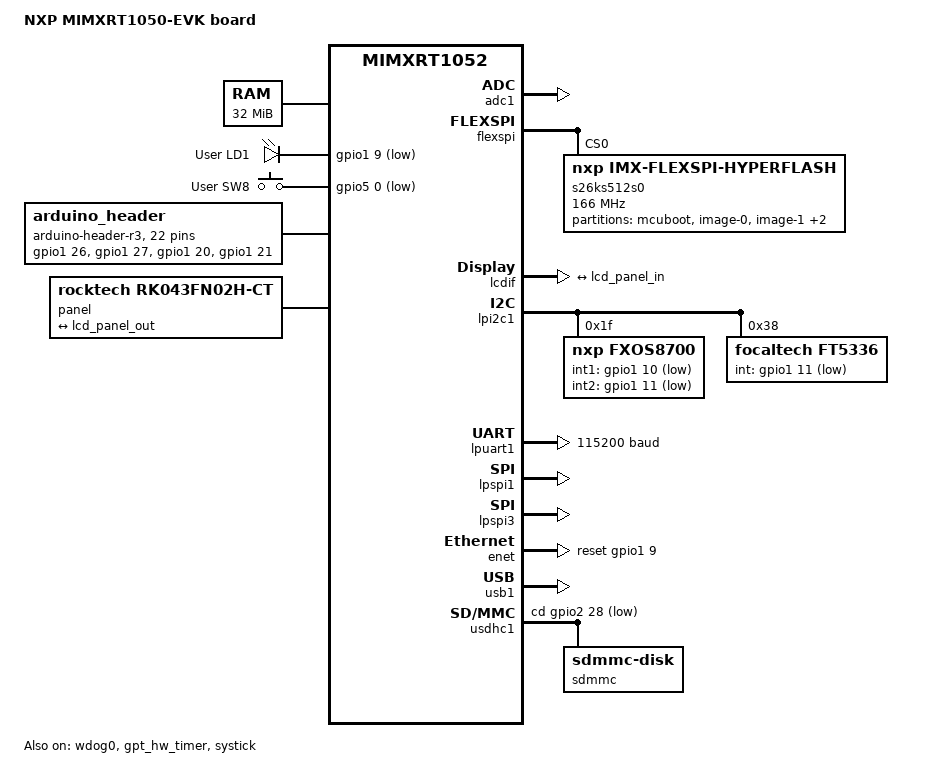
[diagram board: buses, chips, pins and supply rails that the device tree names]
/*
 * Copyright (c) 2017, NXP
 *
 * SPDX-License-Identifier: Apache-2.0
 */

/dts-v1/;

#include <nxp/nxp_rt1050.dtsi>
#include "mimxrt1050_evk-pinctrl.dtsi"

/ {
	model = "NXP MIMXRT1050-EVK board";
	compatible = "nxp,mimxrt1052";

	aliases {
		led0 = &green_led;
		sw0 = &user_button;
		kscan0 = &kscan_input;
		watchdog0 = &wdog0;
		magn0 = &fxos8700;
		accel0 = &fxos8700;
		sdhc0 = &usdhc1;
	};

	chosen {
		zephyr,sram = &sdram0;
		zephyr,itcm = &itcm;
		zephyr,dtcm = &dtcm;
		zephyr,console = &lpuart1;
		zephyr,shell-uart = &lpuart1;
		zephyr,flash-controller = &s26ks512s0;
		zephyr,flash = &s26ks512s0;
		zephyr,code-partition = &slot0_partition;
		zephyr,display = &lcdif;
		zephyr,keyboard-scan = &kscan_input;
	};

	sdram0: memory@80000000 {
		/* Micron MT48LC16M16A2B4-6AIT:G */
		device_type = "memory";
		reg = <0x80000000 DT_SIZE_M(32)>;
	};

	leds {
		compatible = "gpio-leds";
		green_led: led_0 {
			gpios = <&gpio1 9 GPIO_ACTIVE_LOW>;
			label = "User LD1";
		};
	};

	gpio_keys {
		compatible = "gpio-keys";
		user_button: button_0 {
			label = "User SW8";
			gpios = <&gpio5 0 (GPIO_PULL_UP | GPIO_ACTIVE_LOW)>;
		};
	};

	arduino_header: connector {
		compatible = "arduino-header-r3";
		#gpio-cells = <2>;
		gpio-map-mask = <0xffffffff 0xffffffc0>;
		gpio-map-pass-thru = <0 0x3f>;
		gpio-map = <0 0 &gpio1 26 0>,	/* A0 */
			   <1 0 &gpio1 27 0>,	/* A1 */
			   <2 0 &gpio1 20 0>,	/* A2 */
			   <3 0 &gpio1 21 0>,	/* A3 */
			   <4 0 &gpio1 17 0>,	/* A4 */
			   <5 0 &gpio1 16 0>,	/* A5 */
			   <6 0 &gpio1 23 0>,	/* D0 */
			   <7 0 &gpio1 22 0>,	/* D1 */
			   <8 0 &gpio1 11 0>,	/* D2 */
			   <9 0 &gpio1 24 0>,	/* D3 */
			   <10 0 &gpio1 9 0>,	/* D4 */
			   <11 0 &gpio1 10 0>,	/* D5 */
			   <12 0 &gpio1 18 0>,	/* D6 */
			   <13 0 &gpio1 19 0>,	/* D7 */
			   <14 0 &gpio1 3 0>,	/* D8 */
			   <15 0 &gpio1 2 0>,	/* D9 */
			   <16 0 &gpio3 13 0>,	/* D10 */
			   <17 0 &gpio3 14 0>,	/* D11 */
			   <18 0 &gpio3 15 0>,	/* D12 */
			   <19 0 &gpio3 12 0>,	/* D13 */
			   <20 0 &gpio1 1 0>,	/* D14 */
			   <21 0 &gpio1 0 0>;	/* D15 */
	};

	panel {
		compatible = "rocktech,rk043fn02h-ct";
		port {
			lcd_panel_in: endpoint {
				remote-endpoint = <&lcd_panel_out>;
			};
		};
	};
};

arduino_serial: &lpuart3 {
	pinctrl-0 = <&pinmux_lpuart3>;
	pinctrl-1 = <&pinmux_lpuart3_sleep>;
	pinctrl-names = "default", "sleep";
};

&adc1 {
	status = "okay";
	pinctrl-0 = <&pinmux_adc1>;
	pinctrl-names = "default";
};

&flexspi {
	status = "okay";
	ahb-prefetch;
	ahb-read-addr-opt;
	pinctrl-0 = <&pinmux_flexspi1>;
	pinctrl-names = "default";
	ahb-bufferable;
	ahb-cacheable;
	sck-differential-clock;
	combination-mode;
	rx-clock-source = <3>;
	reg = <0x402a8000 0x4000>, <0x60000000 DT_SIZE_M(64)>;
	s26ks512s0: s26ks512s@0 {
		compatible = "nxp,imx-flexspi-hyperflash";
		size = <DT_SIZE_M(64*8)>;
		reg = <0>;
		spi-max-frequency = <166000000>;
		word-addressable;
		cs-interval-unit = <1>;
		cs-interval = <2>;
		cs-hold-time = <0>;
		cs-setup-time = <3>;
		data-valid-time = <1>;
		column-space = <3>;
		ahb-write-wait-unit = <2>;
		ahb-write-wait-interval = <20>;
		status = "okay";
		erase-block-size = <4096>;
		write-block-size = <16>;

		partitions {
			compatible = "fixed-partitions";
			#address-cells = <1>;
			#size-cells = <1>;

			boot_partition: partition@0 {
				label = "mcuboot";
				reg = <0x00000000 DT_SIZE_K(256)>;
			};
			slot0_partition: partition@40000 {
				label = "image-0";
				reg = <0x00040000 DT_SIZE_M(3)>;
			};
			slot1_partition: partition@340000 {
				label = "image-1";
				reg = <0x00340000 DT_SIZE_M(3)>;
			};
			scratch_partition: partition@640000 {
				label = "image-scratch";
				reg = <0x00640000 DT_SIZE_K(768)>;
			};
			storage_partition: partition@700000 {
				label = "storage";
				reg = <0x00700000 DT_SIZE_M(57)>;
			};
		};
	};
};

&lcdif {
	status = "okay";
	width = <480>;
	height = <272>;
	hsync = <41>;
	hfp = <4>;
	hbp = <8>;
	vsync = <10>;
	vfp = <4>;
	vbp = <2>;
	polarity = <3>;
	pixel-format = "bgr-565";
	data-buswidth = "16-bit";
	pinctrl-0 = <&pinmux_lcdif>;
	pinctrl-names = "default";
	backlight-gpios = <&gpio2 31 GPIO_ACTIVE_HIGH>;
	port {
		lcd_panel_out: endpoint {
			remote-endpoint = <&lcd_panel_in>;
		};
	};
};

&lpi2c1 {
	status = "okay";
	pinctrl-0 = <&pinmux_lpi2c1>;
	pinctrl-names = "default";

	fxos8700: fxos8700@1f {
		compatible = "nxp,fxos8700";
		reg = <0x1f>;

		/* Two zero ohm resistors (R263 and R264) isolate sensor
		 * interrupt gpios from the soc and are unpopulated by default.
		 * Note that if you populate them, they conflict with LCD and
		 * Ethernet interrupt gpios.
		 */
		int1-gpios = <&gpio1 10 GPIO_ACTIVE_LOW>;
		int2-gpios = <&gpio1 11 GPIO_ACTIVE_LOW>;
	};

	ft5336@38 {
		compatible = "focaltech,ft5336";
		reg = <0x38>;
		int-gpios = <&gpio1 11 GPIO_ACTIVE_LOW>;

		kscan_input: kscan-input {
			compatible = "zephyr,kscan-input";
		};
	};
};

&lpuart1 {
	status = "okay";
	current-speed = <115200>;
	pinctrl-0 = <&pinmux_lpuart1>;
	pinctrl-1 = <&pinmux_lpuart1_sleep>;
	pinctrl-names = "default", "sleep";
};

&lpspi1 {
	status = "okay";
	/* DMA channels 0 and 1, muxed to LPSPI1 RX and TX */
	dmas = <&edma0 0 13>, <&edma0 1 14>;
	dma-names = "rx", "tx";
	pinctrl-0 = <&pinmux_lpspi1>;
	pinctrl-names = "default";
};

&lpspi3 {
	status = "okay";
	/* DMA channels 2 and 3, muxed to LPSPI3 RX and TX */
	dmas = <&edma0 2 15>, <&edma0 3 16>;
	dma-names = "rx", "tx";
	pinctrl-0 = <&pinmux_lpspi3>;
	pinctrl-names = "default";
};

&enet {
	status = "okay";
	pinctrl-0 = <&pinmux_enet>;
	pinctrl-names = "default";
	int-gpios = <&gpio1 10 GPIO_ACTIVE_HIGH>;
	reset-gpios = <&gpio1 9 GPIO_ACTIVE_HIGH>;
	ptp {
		pinctrl-0 = <&pinmux_ptp>;
		pinctrl-names = "default";
		status = "okay";
	};
};

zephyr_udc0: &usb1 {
	status = "okay";
};

&usdhc1 {
	status = "okay";
	pwr-gpios = <&gpio1 5 GPIO_ACTIVE_HIGH>;
	cd-gpios = <&gpio2 28 GPIO_ACTIVE_LOW>;
	pinctrl-0 = <&pinmux_usdhc1>;
	pinctrl-1 = <&pinmux_usdhc1_slow>;
	pinctrl-2 = <&pinmux_usdhc1_med>;
	pinctrl-3 = <&pinmux_usdhc1_fast>;
	pinctrl-names = "default", "slow", "med", "fast";
	sdmmc {
		compatible = "zephyr,sdmmc-disk";
		status = "okay";
	};
};

&wdog0 {
	status = "okay";
};

&edma0 {
	status = "okay";
};

/* GPT and Systick are enabled. If power management is enabled, the GPT
 * timer will be used instead of systick, as allows the core clock to
 * be gated.
 */
&gpt_hw_timer {
	status = "okay";
};

&systick {
	status = "okay";
};
